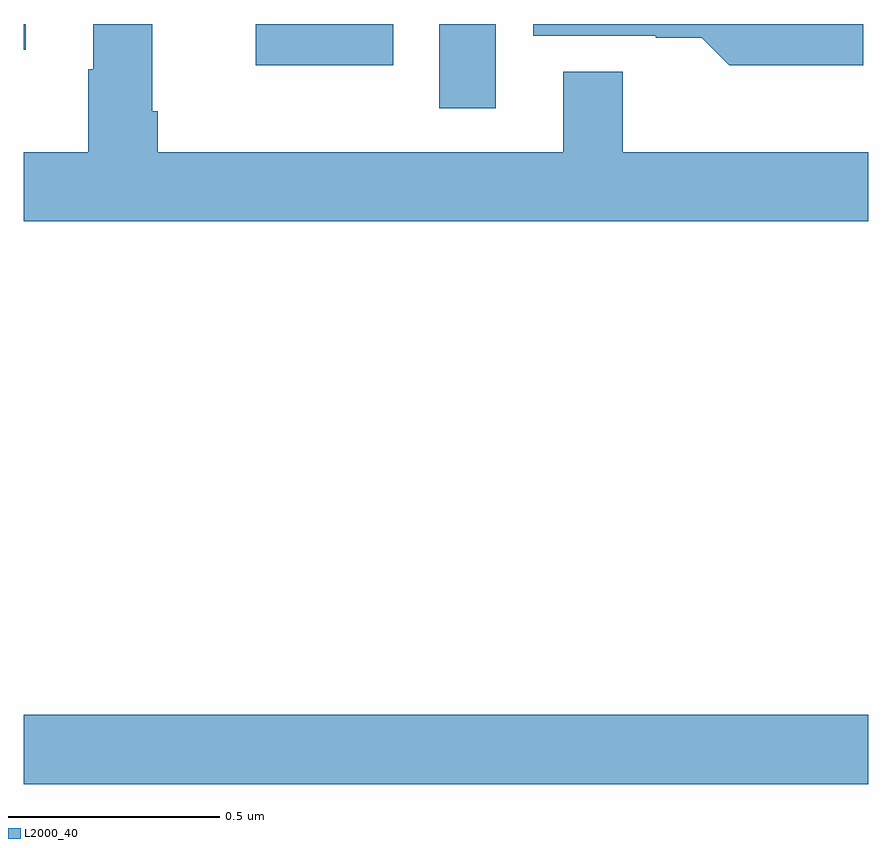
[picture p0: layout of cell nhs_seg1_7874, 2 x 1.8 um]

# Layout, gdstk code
import gdstk
lib = gdstk.Library(unit=1e-6, precision=1e-09)
def R(c, l, rs):  # rectangles x0, y0, x1, y1
    for r in rs: c.add(gdstk.rectangle(r[:2], r[2:], *l))
def P(c, l, *ps):  # polygons
    for p in ps: c.add(gdstk.Polygon(p, *l))
L2000_40 = (2000, 40)

nhs_seg1_7874 = lib.new_cell('nhs_seg1_7874')
R(nhs_seg1_7874, L2000_40, [(209,550.4,211,550.564), (209.984,552,210.118,552.199), (209,552.138,209.005,552.199)])
P(nhs_seg1_7874, L2000_40, [(211,551.896),(210.418,551.896),(210.418,552.086),(210.278,552.086),(210.278,551.896),(209.318,551.896),(209.318,551.992),(209.305,551.992),(209.305,552.199),(209.165,552.199),(209.165,552.092),(209.153,552.092),(209.153,551.896),(209,551.896),(209,551.732),(211,551.732)],
  [(209.875,552.198),(209.646,552.198),(209.646,552.199),(209.55,552.199),(209.55,552.101),(209.875,552.101)],
  [(210.988,552.198),(210.759,552.198),(210.759,552.199),(210.207,552.199),(210.207,552.171),(210.497,552.171),(210.497,552.166),(210.605,552.166),(210.671,552.101),(210.988,552.101)])

lib.write_gds('nhs_seg1_7874.gds')
